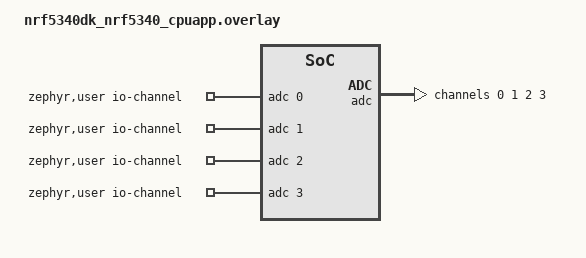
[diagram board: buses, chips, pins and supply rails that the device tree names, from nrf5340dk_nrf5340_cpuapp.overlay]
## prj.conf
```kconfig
#
# Copyright (c) 2018 Nordic Semiconductor
#
# SPDX-License-Identifier: LicenseRef-Nordic-5-Clause
#

# Logger module
#CONFIG_LOG=y    #Deeksha- commented this line and added below 2 lines for power reduction
CONFIG_LOG=n
CONFIG_SERIAL=n
CONFIG_ADC=y
# Segger RTT
# CONFIG_LOG_PRINTK=y
# CONFIG_USE_SEGGER_RTT=y
# CONFIG_RTT_CONSOLE=y
# CONFIG_UART_CONSOLE=n
# CONFIG_LOG_BACKEND_RTT=y
# CONFIG_LOG_BACKEND_UART=n
# CONFIG_ADC=y

# Bluetooth LE
CONFIG_BT=y
CONFIG_BT_DEVICE_NAME="MM" 
CONFIG_BT_PERIPHERAL=y
CONFIG_BT_DEVICE_NAME_DYNAMIC=y
CONFIG_BT_OBSERVER=y
CONFIG_BT_BROADCASTER=y

# Increase stack size for the main thread and System Workqueue
CONFIG_SYSTEM_WORKQUEUE_STACK_SIZE=2048
CONFIG_MAIN_STACK_SIZE=2048

#CONFIG_PM=y
#CONFIG_PM_DEVICE=y
```

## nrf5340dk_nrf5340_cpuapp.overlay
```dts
/ {
	zephyr,user {
		io-channels = <&adc 0>, <&adc 1>, <&adc 2>, <&adc 3>;
	};
};

&adc {
	#address-cells = <1>;
	#size-cells = <0>;

	// Super caps
	channel@0 {
		reg = <0>;
		zephyr,gain = "ADC_GAIN_1_6";
		zephyr,reference = "ADC_REF_INTERNAL";
		zephyr,acquisition-time = <ADC_ACQ_TIME(ADC_ACQ_TIME_MICROSECONDS, 40)>;
		zephyr,input-positive = <NRF_SAADC_AIN0>;
        zephyr,resolution = < 12 >;
	};

	channel@1 {
		reg = <1>;
		zephyr,gain = "ADC_GAIN_1_6";
		zephyr,reference = "ADC_REF_INTERNAL";
		zephyr,acquisition-time = <ADC_ACQ_TIME(ADC_ACQ_TIME_MICROSECONDS, 40)>;
		zephyr,input-positive = <NRF_SAADC_AIN1>;
        zephyr,resolution = < 12 >;
	};

	channel@2 {
		reg = <2>;
		zephyr,gain = "ADC_GAIN_1_6";
		zephyr,reference = "ADC_REF_INTERNAL";
		zephyr,acquisition-time = <ADC_ACQ_TIME(ADC_ACQ_TIME_MICROSECONDS, 40)>;
		zephyr,input-positive = <NRF_SAADC_AIN2>;
        zephyr,resolution = < 12 >;
	};

	// Comms PD
	channel@3 {
		reg = <3>;
		zephyr,gain = "ADC_GAIN_1_6";
		zephyr,reference = "ADC_REF_INTERNAL";
		zephyr,acquisition-time = <ADC_ACQ_TIME(ADC_ACQ_TIME_MICROSECONDS, 40)>;
		zephyr,input-positive = <NRF_SAADC_AIN3>; /* P0.30 */
		zephyr,input-negative = <NRF_SAADC_AIN4>; /* P0.31 */
		zephyr,oversampling = <4>; // oversampling to smooth out ADC noise
		zephyr,resolution = <12>;
	};

}; 


&uart0 {
   status = "disabled";
};

&uart1 {
	status = "disabled";
};
```

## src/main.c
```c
/* DISABLE BLE FOR BEST POWER RESULTS */
#include <inttypes.h>
#include <stddef.h>
#include <stdint.h>
#include <zephyr/devicetree.h>
#include <zephyr/sys/util.h>
#include <zephyr/kernel.h>
#include <zephyr/logging/log.h>
#include <zephyr/bluetooth/bluetooth.h>
#include <zephyr/bluetooth/gap.h>
#include <zephyr/drivers/gpio.h>
#include <zephyr/drivers/adc.h>
#include <zephyr/pm/pm.h>
#include <zephyr/device.h>
#include <zephyr/sys/printk.h>
#include <zephyr/sys/time_units.h>
#include <zephyr/drivers/uart.h>

/*
Defs
*/
// ADC macros
#if !DT_NODE_EXISTS(DT_PATH(zephyr_user)) || !DT_NODE_HAS_PROP(DT_PATH(zephyr_user), io_channels)
#error "No suitable devicetree overlay specified"
#endif
#define DT_SPEC_AND_COMMA(node_id, prop, idx) ADC_DT_SPEC_GET_BY_IDX(node_id, idx),

// ADC channels
#define SUPER_CAP_IDX 0
#define MOTOR_CAP_1_IDX 1
#define MOTOR_CAP_2_IDX 2
#define COMMS_IDX 3

// Constants for min val read on ADC for capacitor to discharge/recharge
#define SUPER_CAP_THRESHOLD_MV 2000 //190// Need to tune this value
#define MOTOR_CAP_RELEASE_THRESHOLD_MV 3000//310 //need to tune
#define SUPER_CAP_THRESHOLD (SUPER_CAP_THRESHOLD_MV / 2)
#define MOTOR_CAP_RELEASE_THRESHOLD (MOTOR_CAP_RELEASE_THRESHOLD_MV / 6)

// GPIO
#define CAP_SWITCH_PIN 23  // gpio 0
#define MOTOR_1_CAP_PIN 13 // gpio 1
#define MOTOR_2_CAP_PIN 21 // gpio 0

// Motion
#define STRAIGHT 0
#define LEFT 1
#define RIGHT 2
#define STOP 3

// Timing Constraints (in ms)
// ADC_TIME must be greater than the time it takes to read all ADC channels. readADC() is called ADC_TIME ms before robot_step() is called
// MOTOR_SHUTOFF_TIME is the time the motors are left turned on after being triggered. This value must be smaller than ROBOT_STEP_TIME - ADC_TIME,
// 	otherwise the ADC will be reading the motor capacitors while they are still being discharged
// ROBOT_STEP_TIME is the time between robot steps. 
#define ADC_TIME 10 // Time delay to allow ADC reads of all channels
#define MOTOR_SHUTOFF_TIME 50 // Time delay to shutoff motors after being triggered
#define ROBOT_STEP_TIME 150 // Time delay between robot steps

/*
BLE
*/
/* toma's ble notes:
idea: start ble at a high interval (1000+ ms), stop ble adv, then update payload with data, restart ble adv and repeat
data is contained in the mfg_data field (pretty standard approach to ble adv)
*/
#define MSEC_TO_BLE_UNITS(TIME_MS) ((TIME_MS) * 1000 / 625)
#define MIN_BLUETOOTH_INTERVAL MSEC_TO_BLE_UNITS(1000)
#define MAX_BLUETOOTH_INTERVAL MSEC_TO_BLE_UNITS(1001) // set to high interval (500, 501)
#define DEVICE_NAME CONFIG_BT_DEVICE_NAME
#define DEVICE_NAME_LEN (sizeof(DEVICE_NAME) - 1)
#define COMPANY_ID_CODE 0x0059 

uint8_t ms_data_store[8] = {0, 0, 0, 0, 0, 0, 0, 0}; // dummy initial data -> to update "adv_mfg_data.motion_state_data"
uint32_t payload_count = 0;

typedef struct adv_mfg_data {
	uint16_t company_code;         // 2 bytes
	uint8_t motion_state_data[8];  // 8 bytes
	int16_t mv_range;                // 2 bytes
} adv_mfg_data_type;

static adv_mfg_data_type adv_mfg_data = {
    .company_code = COMPANY_ID_CODE,
    .motion_state_data = {5, 6, 7, 8, 1, 2, 3, 4}, // dummy initial data
	.mv_range = 0,
};

// Shared error var
int err;

static struct bt_le_adv_param *adv_param = BT_LE_ADV_PARAM(BT_LE_ADV_OPT_NONE, MIN_BLUETOOTH_INTERVAL, MAX_BLUETOOTH_INTERVAL, NULL);
static const struct bt_data ad[] = { 
	BT_DATA_BYTES(BT_DATA_FLAGS, BT_LE_AD_NO_BREDR), 
	BT_DATA(BT_DATA_NAME_COMPLETE, DEVICE_NAME, DEVICE_NAME_LEN), 
	BT_DATA(BT_DATA_MANUFACTURER_DATA,(unsigned char *)&adv_mfg_data, sizeof(adv_mfg_data)),
};

int initBT() {
	err = bt_enable(NULL);
	if (err) return -1;
	// err = bt_le_adv_start(adv_param, ad, ARRAY_SIZE(ad), sd, ARRAY_SIZE(sd));
	err = bt_le_adv_start(adv_param, ad, ARRAY_SIZE(ad), NULL, 0);
	if (err) return -1;
	return 0;
}

void update_advertising_data(uint8_t *ms_data_store, size_t len_ms, int16_t mv_range, size_t len_range) {
	bt_le_adv_stop();
	memcpy(adv_mfg_data.motion_state_data, ms_data_store, len_ms);	
    adv_mfg_data.mv_range = mv_range;
	err = bt_le_adv_start(adv_param, ad, ARRAY_SIZE(ad), NULL, 0);
}

/*
ADC
*/
static const struct adc_dt_spec adc_channels[] = {
	DT_FOREACH_PROP_ELEM(DT_PATH(zephyr_user), io_channels, DT_SPEC_AND_COMMA)
};
uint32_t count = 0;
uint16_t buf;
struct adc_sequence sequence = {
	.buffer = &buf,
	.buffer_size = sizeof(buf), // buffer size in bytes, not number of samples
	.resolution = 10,
};

// ADC channels
int32_t adc_outputs_mv[ARRAY_SIZE(adc_channels)];

int initADC() {
	for (size_t i = 0U; i < ARRAY_SIZE(adc_channels); i++) {
		if (!device_is_ready(adc_channels[i].dev)) {
			printk("ADC controller device %s not ready\n", adc_channels[i].dev->name);
			return 1;
		}
		err = adc_channel_setup_dt(&adc_channels[i]);
		if (err < 0) {
			printk("Could not setup channel #%d (%d)\n", i, err);
			return 1;
		}
	}
	return 0;
}

void update_comms(int raw);
void readADC(struct k_work *work) {
    // printk("%u, ADC reading[%u]:\n", k_uptime_get(), count++);
	for (size_t i = 0U; i < ARRAY_SIZE(adc_channels); i++) {
		// printk("- %s, channel %d: ", adc_channels[i].dev->name, adc_channels[i].channel_id);
		(void) adc_sequence_init_dt(&adc_channels[i], &sequence);
		err = adc_read(adc_channels[i].dev, &sequence);
		if (err < 0) {
			//printk("Could not read (%d)\n", err);
			continue;
		}
		if (adc_channels[i].channel_cfg.differential) {
			adc_outputs_mv[i] = (int32_t)((int16_t)buf);
		} else {
			adc_outputs_mv[i] = (int32_t)buf;
		}
		// printk("Raw Value: %d, ", adc_outputs_mv[i]);
		adc_raw_to_millivolts(adc_ref_internal(adc_channels[i].dev), adc_channels[i].channel_cfg.gain, adc_channels[i].resolution, &adc_outputs_mv[i]);
		// printk("MV Value: %d\n", adc_outputs_mv[i]);
		// Update comms when a new sample is ready
		if (i == COMMS_IDX) {
			update_comms(adc_outputs_mv[i]);
		}
	}
}
K_WORK_DEFINE(adc_work, readADC);
void adc_timer_handler(struct k_timer *dummy) {
	k_work_submit(&adc_work);
}
K_TIMER_DEFINE(adc_timer, adc_timer_handler, NULL);


/* 
GPIO pins/state for capacitors 
*/
uint16_t cap_switch_state = 0; // 0: to supercap, 1: to motor cap
const struct device *gpio0;
const struct device *gpio1;

int initCapGPIO() {
	gpio0 = device_get_binding(DEVICE_DT_NAME(DT_NODELABEL(gpio0)));
	gpio1 = device_get_binding(DEVICE_DT_NAME(DT_NODELABEL(gpio1)));
	int cap_switch_pin_err;
	int motor_1_cap_pin_err;
	int motor_2_cap_pin_err;
	cap_switch_pin_err = gpio_pin_configure(gpio0, CAP_SWITCH_PIN, GPIO_OUTPUT | GPIO_OUTPUT_INIT_LOW);
	motor_1_cap_pin_err = gpio_pin_configure(gpio1, MOTOR_1_CAP_PIN, GPIO_OUTPUT | GPIO_OUTPUT_INIT_LOW);
	motor_2_cap_pin_err = gpio_pin_configure(gpio0, MOTOR_2_CAP_PIN, GPIO_OUTPUT | GPIO_OUTPUT_INIT_LOW);
	if (cap_switch_pin_err < 0 || motor_1_cap_pin_err < 0 || motor_2_cap_pin_err < 0) return -1;
	return 0;
}


/*
Motor shutoff
*/
void motorShutoff(struct k_work *work) {
	gpio_pin_set(gpio1, MOTOR_1_CAP_PIN, 0);
	gpio_pin_set(gpio0, MOTOR_2_CAP_PIN, 0);
}
K_WORK_DEFINE(motor_shutoff_work, motorShutoff);
void motor_shutoff_timer_handler(struct k_timer *dummy) {
	k_work_submit(&motor_shutoff_work);
}
K_TIMER_DEFINE(motor_shutoff_timer, motor_shutoff_timer_handler, NULL);


/*
Motion control
*/
uint8_t motion_state = STRAIGHT;

/*
Comms
*/
#define N 16 // Number of samples in ADC buffer (larger ==> smoother ==> slower)
#define P2P_MIN 8 // Minimum peak-to-peak range [mV]
#define P2P_MAX 40 // Maximum peak-to-peak range [mV] ORIG: 120
#define F_LOW 12.5 // Lower frequency bound [Hz]
#define F_HIGH 25 // Upper frequency bound [Hz]
#define DF 4 // Frequency tolerance [Hz]

// Ring buffer of raw ADC samples, used to compute buffer stats for demodulation
int comms_raw[N] = {0};
int n = 0;

// Ring buffer stats
typedef struct buffer_stats {
	int avg;
	int max;
	int min;
	int16_t range;
} buffer_stats;
struct buffer_stats comms_raw_stats;

// Update ring buffer stats, e.g., update_buffer_stats(comms_raw, N, &comms_raw_stats);
void update_buffer_stats(int *buffer, int len, buffer_stats *stats) {
	int max = -100000;
	int min = 100000;
	for (int j = 0; j < len; j++) {
		stats->avg += buffer[j];
		if (buffer[j] <= min) { min = buffer[j]; }
		if (buffer[j] >= max) { max = buffer[j]; }
	}
	stats->min = min;
	stats->max = max;
	stats->avg /= len;
	stats->range = NRFX_ABS(stats->max - stats->min);
}

// Initialization
int initComms() {
	comms_raw_stats.max = 0;
	comms_raw_stats.min = 0;
	comms_raw_stats.avg = 0;
	comms_raw_stats.range = 0;
	return 0;
}

// Rising/falling edge transition times
int64_t t_rise = 0;
int64_t t_rise_prev = 0;
int64_t t_fall = 0;
int64_t t_fall_prev = 0;

// Edge states
#define RISING 1
#define NONE 0
#define FALLING -1
int edge = NONE;

// Logic states
#define LOW 0
#define HIGH 1
int state = LOW;

// Period vars
bool T_too_big = false;
bool T_too_small = false;
int T = 0;

// Valid vars
bool valid_p2p = false;
bool valid_T = false;

void update_comms(int raw) {
	// Update samples buffer and compute stats
	comms_raw[n % N] = raw;
	n += 1;
	update_buffer_stats(comms_raw, N, &comms_raw_stats);

	// First check if we have a valid signal strength
	valid_p2p = (comms_raw_stats.range > P2P_MIN) && (comms_raw_stats.range < P2P_MAX);
	
	// State machine to determine edge type
	if (valid_p2p) {
		if (state == LOW) {
			if (raw >= comms_raw_stats.avg) {
				// LOW -> HIGH (rising edge)
				edge = RISING;
				state = HIGH;
				t_rise = k_uptime_get();
			} else {
				// LOW -> LOW (no edge)
				edge = NONE;
			}
		} else if (state == HIGH) {
			if (raw >= comms_raw_stats.avg) {
				// HIGH -> HIGH (no edge)
				edge = NONE;
			} else {
				// HIGH -> LOW (falling edge)
				edge = FALLING;
				state = LOW;
				t_fall = k_uptime_get();
			}
		}
	}

	// Reset signal flags
	T_too_big = false;
	T_too_small = false;

	// Create watchdog to check if it's been too long since a transition
	// We want to do this *before* we calculate the new period, in case there was a transition
	// that reset T_too_big to false, which would override the T check after calculating the actual period 
	if ((state == HIGH) && (k_uptime_get() - t_rise > 1000/(F_LOW - DF))) {
		T_too_big = true;
	} else if ((state == LOW) && (k_uptime_get() - t_fall > 1000/(F_LOW - DF))) {
		T_too_big = true;
	}

	// Calculate the period between subsequent rising edges
	if (edge == RISING) {
		T = k_uptime_get() - t_rise_prev;
		t_rise_prev = t_rise;
	}

	// Calculate if period is within bounds
	if (T > 1000/(F_LOW - DF)) {
		T_too_big = true;
	} else if (T < 1000/(F_HIGH + DF)) {
		T_too_small = true;
	}

	// Determine if the signal is valid based on the period and SNR
	valid_T = !T_too_big & !T_too_small;
	
	// Calculate motor state based on smallest distance to high/low frequencies
	motion_state = STRAIGHT;
	if (valid_T && valid_p2p) {
		int dlow = NRFX_ABS(T-1000/F_LOW);
		int dhigh = NRFX_ABS(T-1000/F_HIGH);
		if (dlow < dhigh) {
			motion_state = LEFT;
		} else {
			motion_state = RIGHT;
		}
	}

	// Print 
	// printk(">motion_state:%i\n", motion_state);
	// printk(">valid_p2p:%i\n", valid_p2p);
	// printk(">range:%d\n", comms_raw_stats.range);
	// printk(">T_too_small:%i\n", T_too_small);
	// printk(">T_too_big:%i\n", T_too_big);
	// printk(">valid_T:%i\n", valid_T);
	// printk(">raw:%d\n", raw);
	// printk(">avg:%d\n", comms_raw_stats.avg);
	// printk(">period:%i\n", T);
	// printk(">state:%i\n", state);
}

void robot_step(struct k_work *work);
K_WORK_DEFINE(robot_step_work, robot_step);
void robot_step_timer_handler(struct k_timer *dummy) {
	k_work_submit(&robot_step_work);
}
K_TIMER_DEFINE(robot_step_timer, robot_step_timer_handler, NULL);
void robot_step(struct k_work *work) {
	if (adc_outputs_mv[SUPER_CAP_IDX] <= SUPER_CAP_THRESHOLD) {
		gpio_pin_set(gpio0, CAP_SWITCH_PIN, 0);
		// printk("Switching to supercap\n");
	}
	else {
		gpio_pin_set(gpio0, CAP_SWITCH_PIN, 1);
		// printk("Switching to motor caps, %i\n", motion_state);
		if(adc_outputs_mv[MOTOR_CAP_1_IDX] >= MOTOR_CAP_RELEASE_THRESHOLD && adc_outputs_mv[MOTOR_CAP_2_IDX] >= MOTOR_CAP_RELEASE_THRESHOLD) {
			switch (motion_state) {
				case STRAIGHT:
					gpio_pin_set(gpio1, MOTOR_1_CAP_PIN, 1);
					gpio_pin_set(gpio0, MOTOR_2_CAP_PIN, 1);
					break;
				case LEFT:
					gpio_pin_set(gpio0, MOTOR_2_CAP_PIN, 1);
					break;
				case RIGHT:
					gpio_pin_set(gpio1, MOTOR_1_CAP_PIN, 1);
					break;
				case STOP:
				default:
					break;
			}
			// printk("Motors triggered\n");
			k_timer_start(&motor_shutoff_timer, K_MSEC(MOTOR_SHUTOFF_TIME), K_NO_WAIT);
		}
	}

	// // Correctly update the payload buffer
    ms_data_store[payload_count % 8] = motion_state;
    payload_count++;

    // when buffer is full send data and reset
    if (payload_count >= 8) {
		for (int i = 0; i < 8; i++) {
			printk("data: %d\n: ", ms_data_store[i]);
		}
		printk("packet done\n");
        update_advertising_data(ms_data_store, 8, comms_raw_stats.max, 2);
        payload_count = 0; 
    }
	k_timer_start(&robot_step_timer, K_MSEC(ROBOT_STEP_TIME), K_NO_WAIT);
	// printk("Robot Step\n");
	return;
}


/*
Main
*/
int main(void) {
	printk("starting!!");
	// init ble payload data
	// memcpy(adv_mfg_data.motion_state_data, ms_data_store, sizeof(ms_data_store));

	// Initialization
	if (initCapGPIO() != 0) return -1;
	printk("initCapGPIO() success\n");
	if (initADC() != 0) return -1;
	printk("initADC() success\n");
	if (initBT() != 0) return -1;
	printk("initBT() success\n");
	if (initComms() != 0) return -1;
	printk("initComms() success\n");

	// Setup timers
	k_timer_start(&adc_timer, K_MSEC(ADC_TIME), K_MSEC(ADC_TIME));
	printk("adc_timer setup success\n");
	k_timer_start(&robot_step_timer, K_MSEC(ROBOT_STEP_TIME), K_NO_WAIT);
	printk("robot_step_timer setup success\n");	

	while (true) {
		// printk("hello\n");
		k_sleep(K_SECONDS(1)); 
	}

	// Loop
	for (;;) {
		k_cpu_idle();
	}
	return 0;
}
```

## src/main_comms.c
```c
#include <inttypes.h>
#include <stddef.h>
#include <stdint.h>
#include <zephyr/devicetree.h>
#include <zephyr/sys/util.h>
#include <zephyr/kernel.h>
#include <zephyr/logging/log.h>
// #include <zephyr/bluetooth/bluetooth.h>
// #include <zephyr/bluetooth/gap.h>
#include <zephyr/drivers/gpio.h>
#include <zephyr/drivers/adc.h>
#include <zephyr/pm/pm.h>
#include <zephyr/device.h>
#include <zephyr/sys/printk.h>
#include <zephyr/sys/time_units.h>

/*
Defs
*/
// ADC macros
#if !DT_NODE_EXISTS(DT_PATH(zephyr_user)) || !DT_NODE_HAS_PROP(DT_PATH(zephyr_user), io_channels)
#error "No suitable devicetree overlay specified"
#endif
#define DT_SPEC_AND_COMMA(node_id, prop, idx) ADC_DT_SPEC_GET_BY_IDX(node_id, idx),

// ADC channels
#define SUPER_CAP_IDX 0
#define MOTOR_CAP_1_IDX 1
#define MOTOR_CAP_2_IDX 2
#define COMMS_IDX 3

// Constants for min val read on ADC for capacitor to discharge/recharge
#define SUPER_CAP_THRESHOLD_MV 2000 //190// Need to tune this value
#define MOTOR_CAP_RELEASE_THRESHOLD_MV 3000//310 //need to tune
#define SUPER_CAP_THRESHOLD (SUPER_CAP_THRESHOLD_MV / 2)
#define MOTOR_CAP_RELEASE_THRESHOLD (MOTOR_CAP_RELEASE_THRESHOLD_MV / 6)

// GPIO
#define CAP_SWITCH_PIN 23  // gpio 0
#define MOTOR_1_CAP_PIN 13 // gpio 1
#define MOTOR_2_CAP_PIN 21 // gpio 0

// Motion
#define STRAIGHT 0
#define LEFT 1
#define RIGHT 2
#define STOP 3

// Timing Constraints (in ms)
// ADC_TIME must be greater than the time it takes to read all ADC channels. readADC() is called ADC_TIME ms before robot_step() is called
// MOTOR_SHUTOFF_TIME is the time the motors are left turned on after being triggered. This value must be smaller than ROBOT_STEP_TIME - ADC_TIME,
// 	otherwise the ADC will be reading the motor capacitors while they are still being discharged
// ROBOT_STEP_TIME is the time between robot steps. 
#define ADC_TIME 10 // Time delay to allow ADC reads of all channels
#define MOTOR_SHUTOFF_TIME 50 // Time delay to shutoff motors after being triggered
#define ROBOT_STEP_TIME 150 // Time delay between robot steps

// // BLE
// #define MSEC_TO_BLE_UNITS(TIME_MS) ((TIME_MS) * 1000 / 625)
// #define MIN_BLUETOOTH_INTERVAL MSEC_TO_BLE_UNITS(500)
// #define MAX_BLUETOOTH_INTERVAL MSEC_TO_BLE_UNITS(501)
// #define DEVICE_NAME CONFIG_BT_DEVICE_NAME
// #define DEVICE_NAME_LEN (sizeof(DEVICE_NAME) - 1)

// Shared error var
int err;


/*
Bluetooth
*/
// static struct bt_le_adv_param *adv_param = BT_LE_ADV_PARAM(BT_LE_ADV_OPT_NONE, MIN_BLUETOOTH_INTERVAL, MAX_BLUETOOTH_INTERVAL, NULL);
// static const struct bt_data ad[] = { BT_DATA_BYTES(BT_DATA_FLAGS, BT_LE_AD_NO_BREDR), BT_DATA(BT_DATA_NAME_COMPLETE, DEVICE_NAME, DEVICE_NAME_LEN), };

// int initBT() {
// 	err = bt_enable(NULL);
// 	if (err) return -1;
// 	err = bt_le_adv_start(adv_param, ad, ARRAY_SIZE(ad), NULL, 0);
// 	if (err) return -1;
// 	return 0;
// }


/*
ADC
*/

// Data of ADC io-channels specified in devicetree
static const struct adc_dt_spec adc_channels[] = {
	DT_FOREACH_PROP_ELEM(DT_PATH(zephyr_user), io_channels, DT_SPEC_AND_COMMA)
};
uint32_t count = 0;
uint16_t buf;
struct adc_sequence sequence = {
	.buffer = &buf,
	.buffer_size = sizeof(buf), // buffer size in bytes, not number of samples
	.resolution = 10,
};

// ADC channels
int32_t adc_outputs_mv[ARRAY_SIZE(adc_channels)];

int initADC() {
	for (size_t i = 0U; i < ARRAY_SIZE(adc_channels); i++) {
		if (!device_is_ready(adc_channels[i].dev)) {
			printk("ADC controller device %s not ready\n", adc_channels[i].dev->name);
			return 1;
		}
		err = adc_channel_setup_dt(&adc_channels[i]);
		if (err < 0) {
			printk("Could not setup channel #%d (%d)\n", i, err);
			return 1;
		}
	}
	return 0;
}

void update_comms(int raw);
void readADC(struct k_work *work) {
    // printk("%u, ADC reading[%u]:\n", k_uptime_get(), count++);
	for (size_t i = 0U; i < ARRAY_SIZE(adc_channels); i++) {
		// printk("- %s, channel %d: ", adc_channels[i].dev->name, adc_channels[i].channel_id);
		(void) adc_sequence_init_dt(&adc_channels[i], &sequence);
		err = adc_read(adc_channels[i].dev, &sequence);
		if (err < 0) {
			//printk("Could not read (%d)\n", err);
			continue;
		}
		if (adc_channels[i].channel_cfg.differential) {
			adc_outputs_mv[i] = (int32_t)((int16_t)buf);
		} else {
			adc_outputs_mv[i] = (int32_t)buf;
		}
		// printk("Raw Value: %d, ", adc_outputs_mv[i]);
		adc_raw_to_millivolts(adc_ref_internal(adc_channels[i].dev), adc_channels[i].channel_cfg.gain, adc_channels[i].resolution, &adc_outputs_mv[i]);
		// printk("MV Value: %d\n", adc_outputs_mv[i]);
		// Update comms when a new sample is ready
		if (i == COMMS_IDX) {
			// update_comms(adc_outputs_mv[i]);
		}
	}
}
K_WORK_DEFINE(adc_work, readADC);
void adc_timer_handler(struct k_timer *dummy) {
	k_work_submit(&adc_work);
}
K_TIMER_DEFINE(adc_timer, adc_timer_handler, NULL);


/* 
GPIO pins/state for capacitors 
*/
uint16_t cap_switch_state = 0; // 0: to supercap, 1: to motor cap
const struct device *gpio0;
const struct device *gpio1;

int initCapGPIO() {
	gpio0 = device_get_binding(DEVICE_DT_NAME(DT_NODELABEL(gpio0)));
	gpio1 = device_get_binding(DEVICE_DT_NAME(DT_NODELABEL(gpio1)));
	int cap_switch_pin_err;
	int motor_1_cap_pin_err;
	int motor_2_cap_pin_err;
	cap_switch_pin_err = gpio_pin_configure(gpio0, CAP_SWITCH_PIN, GPIO_OUTPUT | GPIO_OUTPUT_INIT_LOW);
	motor_1_cap_pin_err = gpio_pin_configure(gpio1, MOTOR_1_CAP_PIN, GPIO_OUTPUT | GPIO_OUTPUT_INIT_LOW);
	motor_2_cap_pin_err = gpio_pin_configure(gpio0, MOTOR_2_CAP_PIN, GPIO_OUTPUT | GPIO_OUTPUT_INIT_LOW);
	if (cap_switch_pin_err < 0 || motor_1_cap_pin_err < 0 || motor_2_cap_pin_err < 0) return -1;
	return 0;
}


/*
Motor shutoff
*/
void motorShutoff(struct k_work *work) {
	gpio_pin_set(gpio1, MOTOR_1_CAP_PIN, 0);
	gpio_pin_set(gpio0, MOTOR_2_CAP_PIN, 0);
}
K_WORK_DEFINE(motor_shutoff_work, motorShutoff);
void motor_shutoff_timer_handler(struct k_timer *dummy) {
	k_work_submit(&motor_shutoff_work);
}
K_TIMER_DEFINE(motor_shutoff_timer, motor_shutoff_timer_handler, NULL);


/*
Motion control
*/
uint16_t motion_state = STRAIGHT;

void robot_step(struct k_work *work);
K_WORK_DEFINE(robot_step_work, robot_step);
void robot_step_timer_handler(struct k_timer *dummy) {
	k_work_submit(&robot_step_work);
}
K_TIMER_DEFINE(robot_step_timer, robot_step_timer_handler, NULL);
void robot_step(struct k_work *work) {
	if (adc_outputs_mv[SUPER_CAP_IDX] <= SUPER_CAP_THRESHOLD) {
		gpio_pin_set(gpio0, CAP_SWITCH_PIN, 0);
		// printk("Switching to supercap\n");
	}
	else {
		gpio_pin_set(gpio0, CAP_SWITCH_PIN, 1);
		// printk("Switching to motor caps, %i\n", motion_state);
		if(adc_outputs_mv[MOTOR_CAP_1_IDX] >= MOTOR_CAP_RELEASE_THRESHOLD && adc_outputs_mv[MOTOR_CAP_2_IDX] >= MOTOR_CAP_RELEASE_THRESHOLD) {
			switch (motion_state) {
				case STRAIGHT:
					gpio_pin_set(gpio1, MOTOR_1_CAP_PIN, 1);
					gpio_pin_set(gpio0, MOTOR_2_CAP_PIN, 1);
					break;
				case LEFT:
					gpio_pin_set(gpio0, MOTOR_2_CAP_PIN, 1);
					break;
				case RIGHT:
					gpio_pin_set(gpio1, MOTOR_1_CAP_PIN, 1);
					break;
				case STOP:
				default:
					break;
			}
			// printk("Motors triggered\n");
			k_timer_start(&motor_shutoff_timer, K_MSEC(MOTOR_SHUTOFF_TIME), K_NO_WAIT);
		}
	}
	k_timer_start(&robot_step_timer, K_MSEC(ROBOT_STEP_TIME), K_NO_WAIT);
	// printk("Robot Step\n");
	return;
}


/*
Comms
*/
#define N 32 // Number of samples in ADC buffer (larger ==> smoother ==> slower)
#define P2P_MIN 10 // Minimum peak-to-peak range [mV]
#define P2P_MAX 120 // Maximum peak-to-peak range [mV]
#define F_LOW 12.5 // Lower frequency bound [Hz]
#define F_HIGH 25 // Upper frequency bound [Hz]
#define DF 5 // Frequency tolerance [Hz]

// Ring buffer of raw ADC samples, used to compute buffer stats for demodulation
int comms_raw[N] = {0};
int n = 0;

// Ring buffer stats
typedef struct buffer_stats {
	int avg;
	int max;
	int min;
	int range;
} buffer_stats;
struct buffer_stats comms_raw_stats;

// Update ring buffer stats, e.g., update_buffer_stats(comms_raw, N, &comms_raw_stats);
void update_buffer_stats(int *buffer, int len, buffer_stats *stats) {
	int max = -100000;
	int min = 100000;
	for (int j = 0; j < len; j++) {
		stats->avg += buffer[j];
		if (buffer[j] <= min) { min = buffer[j]; }
		if (buffer[j] >= max) { max = buffer[j]; }
	}
	stats->min = min;
	stats->max = max;
	stats->avg /= len;
	stats->range = NRFX_ABS(stats->max - stats->min);
}

// Initialization
int initComms() {
	comms_raw_stats.max = 0;
	comms_raw_stats.min = 0;
	comms_raw_stats.avg = 0;
	comms_raw_stats.range = 0;
	return 0;
}

// Rising/falling edge transition times
int64_t t_rise = 0;
int64_t t_rise_prev = 0;
int64_t t_fall = 0;
int64_t t_fall_prev = 0;

// Edge states
#define RISING 1
#define NONE 0
#define FALLING -1
int edge = NONE;

// Logic states
#define LOW 0
#define HIGH 1
int state = LOW;

// Period vars
bool T_too_big = false;
bool T_too_small = false;
int T = 0;

// Valid vars
bool valid_p2p = false;
bool valid_T = false;

void update_comms(int raw) {
	
	// Update samples buffer and compute stats
	comms_raw[n % N] = raw;
	n += 1;
	update_buffer_stats(comms_raw, N, &comms_raw_stats);

	// First check if we have a valid signal strength
	valid_p2p = (comms_raw_stats.range > P2P_MIN) && (comms_raw_stats.range < P2P_MAX);
	
	// State machine to determine edge type
	if (valid_p2p) {
		if (state == LOW) {
			if (raw >= comms_raw_stats.avg) {
				// LOW -> HIGH (rising edge)
				edge = RISING;
				state = HIGH;
				t_rise = k_uptime_get();
			} else {
				// LOW -> LOW (no edge)
				edge = NONE;
			}
		} else if (state == HIGH) {
			if (raw >= comms_raw_stats.avg) {
				// HIGH -> HIGH (no edge)
				edge = NONE;
			} else {
				// HIGH -> LOW (falling edge)
				edge = FALLING;
				state = LOW;
				t_fall = k_uptime_get();
			}
		}
	}

	// Reset signal flags
	T_too_big = false;
	T_too_small = false;

	// Create watchdog to check if it's been too long since a transition
	// We want to do this *before* we calculate the new period, in case there was a transition
	// that reset T_too_big to false, which would override the T check after calculating the actual period 
	if ((state == HIGH) && (k_uptime_get() - t_rise > 1000/(F_LOW - DF))) {
		T_too_big = true;
	} else if ((state == LOW) && (k_uptime_get() - t_fall > 1000/(F_LOW - DF))) {
		T_too_big = true;
	}

	// Calculate the period between subsequent rising edges
	if (edge == RISING) {
		T = k_uptime_get() - t_rise_prev;
		t_rise_prev = t_rise;
	}

	// Calculate if period is within bounds
	if (T > 1000/(F_LOW - DF)) {
		T_too_big = true;
	} else if (T < 1000/(F_HIGH + DF)) {
		T_too_small = true;
	}

	// Determine if the signal is valid based on the period and SNR
	valid_T = !T_too_big & !T_too_small;
	
	// Calculate motor state based on smallest distance to high/low frequencies
	motion_state = STRAIGHT;
	if (valid_T && valid_p2p) {
		int dlow = NRFX_ABS(T-1000/F_LOW);
		int dhigh = NRFX_ABS(T-1000/F_HIGH);
		if (dlow < dhigh) {
			motion_state = LEFT;
		} else {
			motion_state = RIGHT;
		}
		// For BER testing:
		// printk("%i,%i\n", motion_state, comms_raw_stats.range);
	}

	// For distance/range/ambient light testing:
	// printk(">raw:%d\n", raw);
	// printk(">range:%d\n", comms_raw_stats.range);

	// For power testing
	// printk(">running:%i\n", 1);

	// Print 
	// printk(">motion_state:%i\n", motion_state);
	// printk(">valid_p2p:%i\n", valid_p2p);
	// printk(">range:%d\n", comms_raw_stats.range);
	// printk(">T_too_small:%i\n", T_too_small);
	// printk(">T_too_big:%i\n", T_too_big);
	// printk(">valid_T:%i\n", valid_T);
	// printk(">raw:%d\n", raw);
	// printk(">avg:%d\n", comms_raw_stats.avg);
	// printk(">period:%i\n", T);
	// printk(">state:%i\n", state);
}


/*
Main
*/
int main(void) {

	// Initialization
	if (initCapGPIO() != 0) return -1;
	// printk("initCapGPIO() success\n");
	if (initADC() != 0) return -1;
	// printk("initADC() success\n");
	// if (initBT() != 0) return -1;
	// printk("initBT() success\n");
	if (initComms() != 0) return -1;
	// printk("initComms() success\n");

	// Setup timers
	k_timer_start(&adc_timer, K_MSEC(ADC_TIME), K_MSEC(ADC_TIME));
	// printk("adc_timer setup success\n");
	k_timer_start(&robot_step_timer, K_MSEC(ROBOT_STEP_TIME), K_NO_WAIT);
	// printk("robot_step_timer setup success\n");	

	// Loop
	for (;;) {
		k_cpu_idle();
	}
	return 0;
}
```

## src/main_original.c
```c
/*
 * Copyright (c) 2023 Nordic Semiconductor ASA
 *
 * SPDX-License-Identifier: LicenseRef-Nordic-5-Clause
 */

#include <zephyr/kernel.h>
#include <zephyr/logging/log.h>
#include <zephyr/bluetooth/bluetooth.h>
#include <zephyr/bluetooth/gap.h>
#include <zephyr/bluetooth/hci.h>
#include <zephyr/drivers/gpio.h>
#include <zephyr/drivers/adc.h>
#include <zephyr/pm/pm.h>
#include <zephyr/device.h>
#include <zephyr/sys/printk.h>
#include <zephyr/sys/time_units.h>


//#include <pm/pm.h>  
// #include <device.h> 
void robot_step(struct k_work *work);


//////////////////////// BLE //////////////////////////
#define MSEC_TO_BLE_UNITS(TIME_MS) ((TIME_MS) * 1000 / 625)

#define MIN_BLUETOOTH_INTERVAL MSEC_TO_BLE_UNITS(500)
#define MAX_BLUETOOTH_INTERVAL MSEC_TO_BLE_UNITS(501)

static struct bt_le_adv_param *adv_param =
    BT_LE_ADV_PARAM(BT_LE_ADV_OPT_NONE,
                    MIN_BLUETOOTH_INTERVAL,
                    MAX_BLUETOOTH_INTERVAL,
                    NULL);

#define DEVICE_NAME CONFIG_BT_DEVICE_NAME
#define DEVICE_NAME_LEN (sizeof(DEVICE_NAME) - 1)

static const struct bt_data ad[] = {
    BT_DATA_BYTES(BT_DATA_FLAGS, BT_LE_AD_NO_BREDR),
    BT_DATA(BT_DATA_NAME_COMPLETE, DEVICE_NAME, DEVICE_NAME_LEN),
};

// #define CUSTOM_ADV_TYPE 0xFF 
// #define COMPANY_ID_CODE 0x0059

// typedef struct the_adc_data {
//         uint16_t company_id;
//         int32_t adc_value;
// } the_adc_data_type;

// static the_adc_data_type the_adc_data = {COMPANY_ID_CODE, 0x00};

// static const struct bt_data ad[] = {
//         BT_DATA_BYTES(BT_DATA_FLAGS, BT_LE_AD_NO_BREDR),
//         BT_DATA(CUSTOM_ADV_TYPE, (const uint8_t *)&the_adc_data, sizeof(the_adc_data)),
// };

// static struct bt_data sd[1];

// void update_advertising_data(int32_t new_adc_value) {
//         the_adc_data.adc_value = new_adc_value;

//         int err = bt_le_adv_start(adv_param, ad, ARRAY_SIZE(ad), sd, ARRAY_SIZE(sd));
//         if (err) {
//                 printk("Advertising failed to start (Error %d)\n", err);
//         }
// }

// static const struct bt_data sd[] = {
// 	BT_DATA(BT_DATA_URI, url_data, sizeof(url_data)),
// };

//////////////////////// BLE //////////////////////////

//TIMING (all ms)
#define ADC_TIME 10 // Time delay to allow ADC reads of all channels
#define MOTOR_SHUTOFF_TIME 50 // Time delay to shutoff motors after being triggered
#define ROBOT_STEP_TIME 150 // Time delay between robot steps

/*Timing Constraints
ADC_TIME must be greater than the time it takes to read all ADC channels. readADC() is called ADC_TIME ms before robot_step() is called
MOTOR_SHUTOFF_TIME is the time the motors are left turned on after being triggered. This value must be smaller than ROBOT_STEP_TIME - ADC_TIME, 
        otherwise the ADC will be reading the motor capacitors while they are still being discharged
ROBOT_STEP_TIME is the time between robot steps. 

*/


//////////////////////// ADC //////////////////////////


// Constants for min val read on ADC for capacitor to discharge/recharge
#define SUPER_CAP_THRESHOLD_MV 2000 //190// Need to tune this value
#define MOTOR_CAP_RELEASE_THRESHOLD_MV 3000//310 //need to tune
#define SUPER_CAP_THRESHOLD (SUPER_CAP_THRESHOLD_MV / 2)
#define MOTOR_CAP_RELEASE_THRESHOLD (MOTOR_CAP_RELEASE_THRESHOLD_MV / 6)

// Define pins/state for capacitors
uint16_t cap_switch_state = 0; // 0: to supercap, 1: to motor cap
const struct device *gpio0;
const struct device *gpio1;
#define CAP_SWITCH_PIN 23  // gpio 0
#define MOTOR_1_CAP_PIN 13 // gpio 1
#define MOTOR_2_CAP_PIN 21 // gpio 0

// error variable
int err;

// ADC defs
#if !DT_NODE_EXISTS(DT_PATH(zephyr_user)) || \
	!DT_NODE_HAS_PROP(DT_PATH(zephyr_user), io_channels)
#error "No suitable devicetree overlay specified"
#endif

#define DT_SPEC_AND_COMMA(node_id, prop, idx) \
	ADC_DT_SPEC_GET_BY_IDX(node_id, idx),

/* Data of ADC io-channels specified in devicetree. */
static const struct adc_dt_spec adc_channels[] = {
	DT_FOREACH_PROP_ELEM(DT_PATH(zephyr_user), io_channels,
			     DT_SPEC_AND_COMMA)
};
uint32_t count = 0;
	uint16_t buf;
	struct adc_sequence sequence = {
		.buffer = &buf,
		/* buffer size in bytes, not number of samples */
		.buffer_size = sizeof(buf),
                .resolution = 10,
	};

// ADC MV Buffer
int32_t adc_outputs_mv[ARRAY_SIZE(adc_channels)];
#define SUPER_CAP_IDX 0
#define MOTOR_CAP_1_IDX 1
#define MOTOR_CAP_2_IDX 2

K_WORK_DEFINE(robot_step_work, robot_step);

void robot_step_timer_handler(struct k_timer *dummy)
{
        k_work_submit(&robot_step_work);
}
K_TIMER_DEFINE(robot_step_timer, robot_step_timer_handler, NULL);


int initCapGPIO()
{
        gpio0 = device_get_binding(DEVICE_DT_NAME(DT_NODELABEL(gpio0)));
        gpio1 = device_get_binding(DEVICE_DT_NAME(DT_NODELABEL(gpio1)));
        int cap_switch_pin_err;
        int motor_1_cap_pin_err;
        int motor_2_cap_pin_err;

        cap_switch_pin_err = gpio_pin_configure(gpio0, CAP_SWITCH_PIN, GPIO_OUTPUT | GPIO_OUTPUT_INIT_LOW);
        motor_1_cap_pin_err = gpio_pin_configure(gpio1, MOTOR_1_CAP_PIN, GPIO_OUTPUT | GPIO_OUTPUT_INIT_LOW);
        motor_2_cap_pin_err = gpio_pin_configure(gpio0, MOTOR_2_CAP_PIN, GPIO_OUTPUT | GPIO_OUTPUT_INIT_LOW);
        if (cap_switch_pin_err < 0 || motor_1_cap_pin_err < 0 || motor_2_cap_pin_err < 0) return -1;

       // printk("GPIO initialized\n");

        return 0;
}

int initADC()
{
       /* Configure channels individually prior to sampling. */
	for (size_t i = 0U; i < ARRAY_SIZE(adc_channels); i++) {
		if (!device_is_ready(adc_channels[i].dev)) {
			//printk("ADC controller device %s not ready\n", adc_channels[i].dev->name);
			return 1;
		}

		err = adc_channel_setup_dt(&adc_channels[i]);

		if (err < 0) {
			//printk("Could not setup channel #%d (%d)\n", i, err);
			return 1;
		}
	}
        return 0;
}

void readADC(struct k_work *work) //reads all ADC channels and stores mV outputs in adc_outputs_mv array
{
       //printk("ADC reading[%u]:\n", count++);
        for (size_t i = 0U; i < ARRAY_SIZE(adc_channels); i++) {

                //printk("- %s, channel %d: ",
                //        adc_channels[i].dev->name,
                //        adc_channels[i].channel_id);
                

                (void)adc_sequence_init_dt(&adc_channels[i], &sequence);

                err = adc_read(adc_channels[i].dev, &sequence);
                if (err < 0) {
                        //printk("Could not read (%d)\n", err);
                        continue;
                }

                /*
                        * If using differential mode, the 16 bit value
                        * in the ADC sample buffer should be a signed 2's
                        * complement value.
                        */
                if (adc_channels[i].channel_cfg.differential) {
                        adc_outputs_mv[i] = (int32_t)((int16_t)buf);
                } else {
                        adc_outputs_mv[i] = (int32_t)buf;
                }
               // printk("Raw Value: %d, ", adc_outputs_mv[i]);
                //adc_outputs_mv[i] = adc_raw_to_millivolts_dt(&adc_channels[i], &val);
                adc_raw_to_millivolts(adc_ref_internal(adc_channels[i].dev), adc_channels[i].channel_cfg.gain, adc_channels[i].resolution, &adc_outputs_mv[i]);
                //adc_outputs_mv[i] = (int32_t)buf;
               // printk("MV Value: %d\n", adc_outputs_mv[i]);
        }
        // update_advertising_data(adc_outputs_mv[MOTOR_CAP_1_IDX]);
}
K_WORK_DEFINE(adc_work, readADC);

void adc_timer_handler(struct k_timer *dummy)
{
        k_work_submit(&adc_work);
}
K_TIMER_DEFINE(adc_timer, adc_timer_handler, NULL);

void motorShutoff(struct k_work *work)
{
        gpio_pin_set(gpio1, MOTOR_1_CAP_PIN, 0);
        gpio_pin_set(gpio0, MOTOR_2_CAP_PIN, 0);
}

K_WORK_DEFINE(motor_shutoff_work, motorShutoff);

void motor_shutoff_timer_handler(struct k_timer *dummy)
{
        k_work_submit(&motor_shutoff_work);
}
K_TIMER_DEFINE(motor_shutoff_timer, motor_shutoff_timer_handler, NULL);


void robot_step(struct k_work *work)
{       
        if(adc_outputs_mv[SUPER_CAP_IDX] <= SUPER_CAP_THRESHOLD){
                gpio_pin_set(gpio0, CAP_SWITCH_PIN, 0);
                //printk("Switching to supercap\n");
        }
        else
        {
                gpio_pin_set(gpio0, CAP_SWITCH_PIN, 1);
                //printk("Switching to motor caps\n");
                if(adc_outputs_mv[MOTOR_CAP_1_IDX] >= MOTOR_CAP_RELEASE_THRESHOLD && adc_outputs_mv[MOTOR_CAP_2_IDX] >= MOTOR_CAP_RELEASE_THRESHOLD){
                       // printk("motors triggered\n");
                        gpio_pin_set(gpio1, MOTOR_1_CAP_PIN, 1);
                        gpio_pin_set(gpio0, MOTOR_2_CAP_PIN, 1);
                        k_timer_start(&motor_shutoff_timer, K_MSEC(MOTOR_SHUTOFF_TIME), K_NO_WAIT);
                }
        }
        k_timer_start(&adc_timer, K_MSEC(ROBOT_STEP_TIME - ADC_TIME), K_NO_WAIT);
        k_timer_start(&robot_step_timer, K_MSEC(ROBOT_STEP_TIME), K_NO_WAIT);
        //printk("Robot Step\n");
        return;
}
void main(void)
{
	if (initCapGPIO() != 0) return;

	if (initADC() != 0) return;

	k_timer_start(&adc_timer, K_MSEC(ADC_TIME), K_NO_WAIT);
        k_timer_start(&robot_step_timer, K_MSEC(ADC_TIME*2), K_NO_WAIT);

	err = bt_enable(NULL);
	if (err) return;

        err = bt_le_adv_start(adv_param, ad, ARRAY_SIZE(ad), NULL, 0);
        // err = bt_le_adv_start(adv_param, ad, ARRAY_SIZE(ad), sd, ARRAY_SIZE(sd));
	if (err) return;

	for (;;) {
		k_cpu_idle();
	}
}
```
